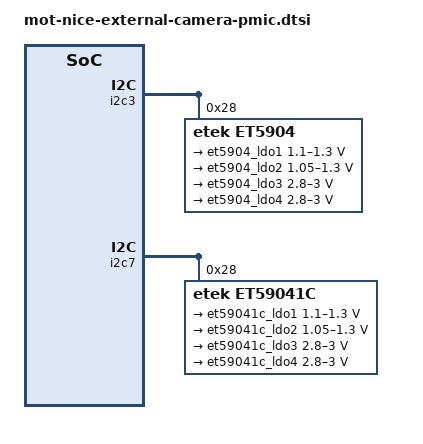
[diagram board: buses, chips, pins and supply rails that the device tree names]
&pio {
	et5904_gpio_en0: et5904_gpio_en0 {
		pins_cmd_dat {
			pinmux = <PINMUX_GPIO115__FUNC_GPIO115>;
			slew-rate = <1>;
			output-low;
		};
	};

	et5904_gpio_en1: et5904_gpio_en1 {
		pins_cmd_dat {
			pinmux = <PINMUX_GPIO115__FUNC_GPIO115>;
			slew-rate = <1>;
			output-high;
		};
	};
    et59041c_gpio_en0: et59041c_gpio_en0 {
		pins_cmd_dat {
			pinmux = <PINMUX_GPIO192__FUNC_GPIO192>;
			slew-rate = <1>;
			output-low;
		};
	};

	et59041c_gpio_en1: et59041c_gpio_en1 {
		pins_cmd_dat {
			pinmux = <PINMUX_GPIO192__FUNC_GPIO192>;
			slew-rate = <1>;
			output-high;
		};
	};
};

&i2c3{
    et5904: et5904@28 {
	status = "okay";
	compatible = "etek,et5904";
	reg = <0x28>;
	pinctrl-names = "et5904_gpio_en0","et5904_gpio_en1";
	pinctrl-0 = <&et5904_gpio_en0>;
	pinctrl-1 = <&et5904_gpio_en1>;
	regulators {
			et5904_ldo1: et5904_ldo1 {
				regulator-name = "et5904_ldo1";
                		regulator-min-microvolt = <1100000>;
				regulator-max-microvolt = <1300000>;
				regulator-boot-on;
			};
			et5904_ldo2: et5904_ldo2 {
				regulator-name = "et5904_ldo2";
                		regulator-min-microvolt = <1050000>;
				regulator-max-microvolt = <1300000>;
				regulator-boot-on;
			};
			et5904_ldo3: et5904_ldo3 {
				regulator-name = "et5904_ldo3";
				regulator-min-microvolt = <2800000>;
				regulator-max-microvolt = <3000000>;
				regulator-boot-on;
			};
			et5904_ldo4: et5904_ldo4 {
				regulator-name = "et5904_ldo4";
				regulator-min-microvolt = <2800000>;
				regulator-max-microvolt = <3000000>;
				regulator-boot-on;
			};
		};
	};
};

&i2c7{
    et59041c: et59041c@28 {
	status = "okay";
	compatible = "etek,et59041c";
	reg = <0x28>;
	pinctrl-names = "et59041c_gpio_en0","et59041c_gpio_en1";
	pinctrl-0 = <&et59041c_gpio_en0>;
	pinctrl-1 = <&et59041c_gpio_en1>;
	regulators {
			et59041c_ldo1: et59041c_ldo1 {
				regulator-name = "et59041c_ldo1";
				regulator-min-microvolt = <1100000>;
				regulator-max-microvolt = <1300000>;
				regulator-boot-on;
			};
			et59041c_ldo2: et59041c_ldo2 {
				regulator-name = "et59041c_ldo2";
				regulator-min-microvolt = <1050000>;
				regulator-max-microvolt = <1300000>;
				regulator-boot-on;
			};
			et59041c_ldo3: et59041c_ldo3 {
				regulator-name = "et59041c_ldo3";
				regulator-min-microvolt = <2800000>;
				regulator-max-microvolt = <3000000>;
				regulator-boot-on;
			};
			et59041c_ldo4: et59041c_ldo4 {
				regulator-name = "et59041c_ldo4";
				regulator-min-microvolt = <2800000>;
				regulator-max-microvolt = <3000000>;
				regulator-boot-on;
			};
		};
	};
};
